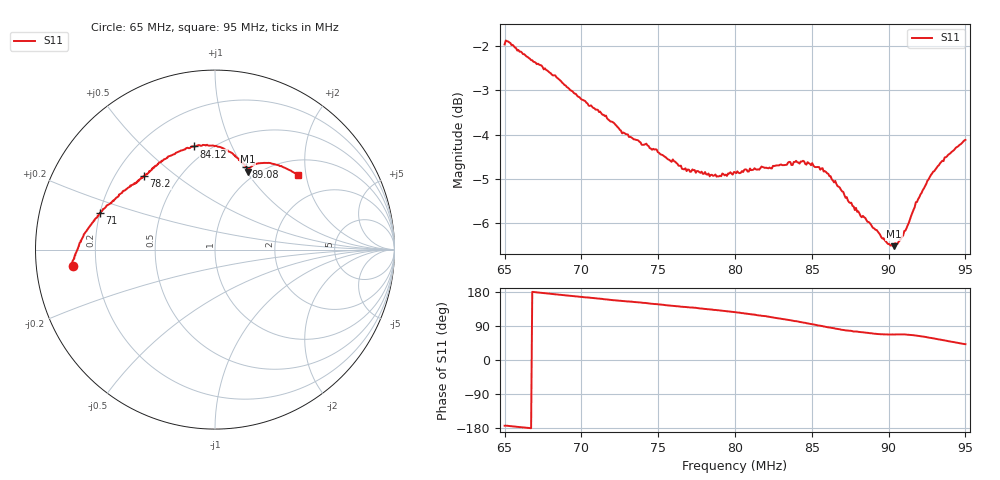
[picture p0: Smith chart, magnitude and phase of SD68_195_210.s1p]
! NanoVNA-App
! Date: 2025-08-09 16:28:28
! Start: 65MHz Stop: 95MHz Points: 401
! S-Parameter data: F S11
# Hz S RI R 50
!  Frequency  S11_Real  S11_Imag
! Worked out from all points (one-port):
!   401 points, 65 MHz to 95 MHz, reference 50 ohm
!   lowest |S11| = -6.5 dB at 90.35 MHz (marker M1), VSWR 2.79, Z = 45.3 + j50.7 ohm
!   |S11| at or under -10 dB: nowhere
!   S11 on the Smith chart (normalised r, x): 65 MHz: 0.11, -0.06; 71 MHz: 0.20, +0.15; 78.2 MHz: 0.32, +0.39; 84.12 MHz: 0.42, +0.73; 89.08 MHz: 0.84, +1.03; 95 MHz: 1.34, +1.81
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6.5e7  -0.7929 -0.0915
6.5375e7  -0.7974 -0.0759
6.7325e7  -0.7558 0.032
6.875e7  -0.7147 0.1053
7.1e7  -0.6422 0.2026
7.205e7  -0.6039 0.245
7.25e7  -0.5859 0.255
7.4225e7  -0.5347 0.3062
7.625e7  -0.4597 0.3615
7.82e7  -0.3951 0.4088
8e7  -0.3383 0.4614
8.1125e7  -0.2906 0.4967
8.2025e7  -0.2501 0.522
8.375e7  -0.1391 0.5661
8.4125e7  -0.1165 0.575
8.4875e7  -0.0548 0.5822
8.5775e7  0.0161 0.5729
8.705e7  0.0998 0.5343
8.75e7  0.1197 0.5144
8.9075e7  0.1739 0.4623
8.99e7  0.1841 0.4386
9.035e7  0.1823 0.4351
9.0875e7  0.1849 0.4464
9.125e7  0.1972 0.4577
9.1925e7  0.2345 0.4792
9.2825e7  0.3032 0.4825
9.3575e7  0.3617 0.4647
9.5e7  0.4648 0.414
